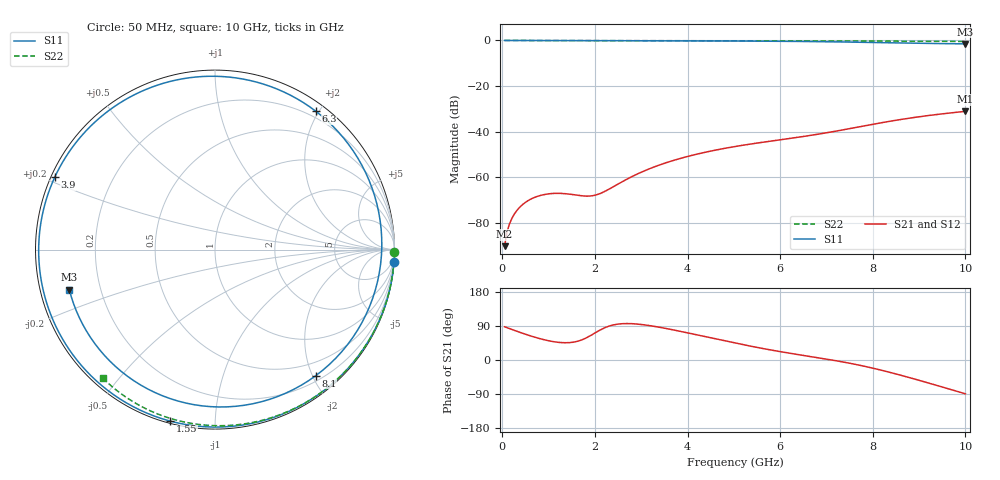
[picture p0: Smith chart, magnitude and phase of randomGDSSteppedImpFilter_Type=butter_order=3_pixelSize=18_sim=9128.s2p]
! freq	dB(S11)	phase(S11)	dB(S12)	phase(S12)
!  dB(S21)	phase(S21)	dB(S22)	phase(S22)
!S-par simulation data
#  GHz  S  DB  R 50
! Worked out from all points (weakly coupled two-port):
!   200 points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, 50 MHz to 10 GHz, reference 50 ohm
!   highest |S21| = -31.13 dB at 10 GHz (marker M1); lowest = -90.3 dB at 50 MHz (marker M2)
!   lowest |S11| = -1.5 dB at 10 GHz (marker M3), VSWR 11.65, Z = 4.37 - j6.67 ohm
!   |S11| at or under -10 dB: nowhere
!   |S22| runs from -0.4 to 0.0 dB; largest |S21 - S12| = 0
!   S11 on the Smith chart (normalised r, x): 50 MHz: 0, -30; 1.55 GHz: 0.01, -0.77; 3.9 GHz: 0.01, +0.21; 6.3 GHz: 0.11, +1.96; 8.1 GHz: 0.28, -2.05; 10 GHz: 0.09, -0.13
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0.05  -0.00 -3.8  -90.32 87.7  -90.32 87.7  -0.00 -0.7
0.15  -0.01 -11.5  -80.85 83.1  -80.85 83.1  -0.00 -2.3
0.45  -0.04 -34.1  -71.86 70.0  -71.86 70.0  -0.01 -6.8
0.8  -0.07 -58.9  -68.19 56.7  -68.19 56.7  -0.02 -12.1
1.15  -0.09 -81.5  -67.13 47.5  -67.13 47.5  -0.02 -17.3
1.55  -0.11 -104.7  -67.76 47.4  -67.76 47.4  -0.03 -23.2
1.75  -0.11 -115.2  -68.27 54.8  -68.27 54.8  -0.03 -26.1
2.1  -0.13 -132.2  -67.31 78.3  -67.31 78.3  -0.04 -31.3
2.55  -0.14 -152.0  -62.46 95.5  -62.46 95.5  -0.05 -37.8
3.4  -0.16 174.5  -54.63 86.3  -54.63 86.3  -0.07 -49.8
3.9  -0.18 155.7  -51.48 74.2  -51.48 74.2  -0.08 -56.7
5.05  -0.25 111.2  -46.49 44.2  -46.49 44.2  -0.11 -72.1
5.7  -0.32 83.0  -44.47 28.6  -44.47 28.6  -0.13 -80.4
6.3  -0.41 54.0  -42.76 16.0  -42.76 16.0  -0.16 -88.0
6.7  -0.49 32.7  -41.54 8.2  -41.54 8.2  -0.18 -92.9
7.4  -0.68 -8.0  -39.10 -6.2  -39.10 -6.2  -0.22 -101.3
8.1  -0.92 -51.3  -36.45 -24.4  -36.45 -24.4  -0.27 -109.5
8.35  -1.01 -67.0  -35.55 -32.0  -35.55 -32.0  -0.29 -112.4
8.7  -1.14 -88.6  -34.40 -43.4  -34.40 -43.4  -0.32 -116.4
9.1  -1.27 -112.8  -33.23 -57.1  -33.23 -57.1  -0.35 -121.0
9.55  -1.40 -139.2  -32.11 -73.0  -32.11 -73.0  -0.40 -126.1
10  -1.50 -164.7  -31.13 -89.2  -31.13 -89.2  -0.44 -131.2
